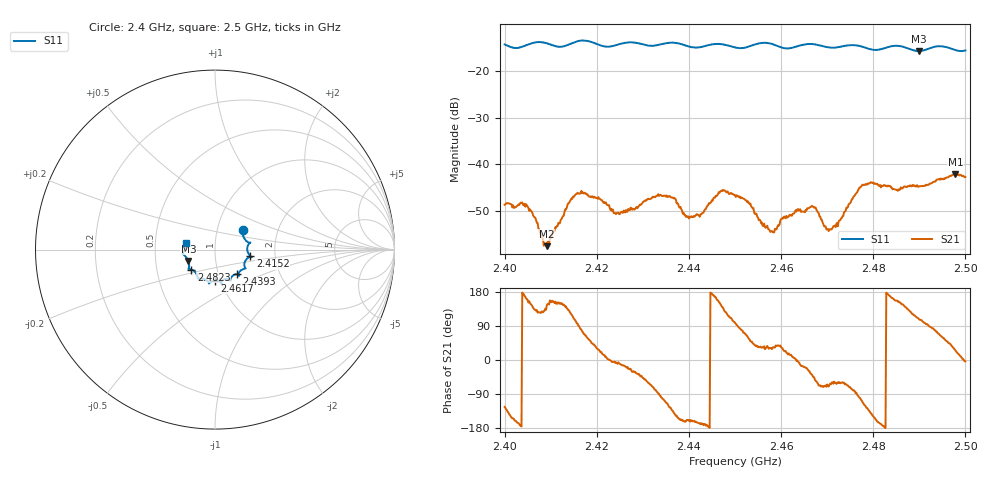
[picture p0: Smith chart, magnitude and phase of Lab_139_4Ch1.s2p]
# Hz S RI R 50
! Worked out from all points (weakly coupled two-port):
!   601 points, 2.4 GHz to 2.5 GHz, reference 50 ohm
!   highest |S21| = -42.02 dB at 2.4978 GHz (marker M1); lowest = -57.4 dB at 2.4092 GHz (marker M2)
!   lowest |S11| = -15.8 dB at 2.4898 GHz (marker M3), VSWR 1.38, Z = 36.8 - j4.79 ohm
!   |S11| at or under -10 dB: start of sweep to end of sweep
!   S12 and S22 are empty: the file has one direction only
!   S11 on the Smith chart (normalised r, x): 2.4 GHz: 1.33, +0.30; 2.4152 GHz: 1.49, -0.11; 2.4393 GHz: 1.23, -0.35; 2.4617 GHz: 0.94, -0.33; 2.4823 GHz: 0.75, -0.17; 2.5 GHz: 0.72, +0.05
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2.4e9  0.1554 0.1092  -0.00207 -0.00309  0 0  0 0
2.405167e9  0.186 0.0399  -0.00304 0.00165  0 0  0 0
2.409167e9  0.1921 0.0358  -0.0011 0.000777  0 0  0 0
2.415167e9  0.1969 -0.0369  -0.00134 0.00444  0 0  0 0
2.416667e9  0.2047 -0.0423  0.000895 0.00515  0 0  0 0
2.4245e9  0.1644 -0.093  0.00301 -0.000528  0 0  0 0
2.433333e9  0.1319 -0.1337  0.000178 -0.00482  0 0  0 0
2.436667e9  0.1342 -0.146  -0.00325 -0.00289  0 0  0 0
2.439333e9  0.1228 -0.138  -0.00263 -0.00087  0 0  0 0
2.442667e9  0.0921 -0.1528  -0.00291 -0.000673  0 0  0 0
2.447e9  0.0843 -0.1718  -0.00428 0.00306  0 0  0 0
2.45e9  0.0662 -0.1638  -0.000689 0.00467  0 0  0 0
2.458e9  0.0375 -0.1888  0.00172 0.000941  0 0  0 0
2.461667e9  0.00037 -0.1723  0.00267 0.000835  0 0  0 0
2.466667e9  -0.0336 -0.189  0.00286 -0.00224  0 0  0 0
2.470667e9  -0.0529 -0.1678  0.000943 -0.00181  0 0  0 0
2.477333e9  -0.0967 -0.1536  -0.00149 -0.00563  0 0  0 0
2.482333e9  -0.1322 -0.1111  -0.00602 -0.000479  0 0  0 0
2.483333e9  -0.141 -0.1098  -0.00588 0.000843  0 0  0 0
2.489833e9  -0.1484 -0.0633  -0.0019 0.00546  0 0  0 0
2.497833e9  -0.1655 0.000891  0.00717 0.00337  0 0  0 0
2.5e9  -0.1598 0.0362  0.00735 -0.000455  0 0  0 0
